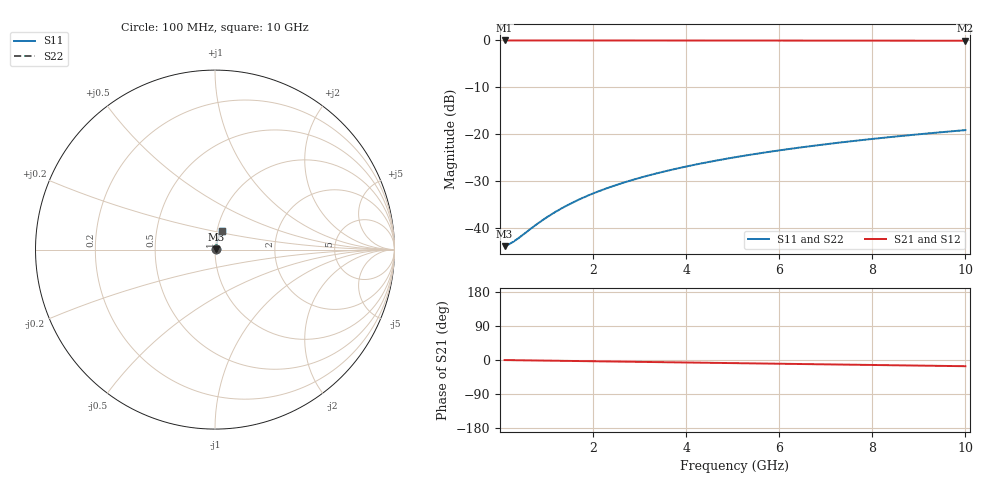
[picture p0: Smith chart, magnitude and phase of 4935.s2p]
# Hz S RI R 50.00
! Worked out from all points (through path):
!   100 points, 100 MHz to 10 GHz, reference 50 ohm
!   highest |S21| = -0.06 dB at 100 MHz (marker M1); lowest = -0.1 dB at 10 GHz (marker M2)
!   group delay of S21, straight-line fit = 4.55 ps
!   lowest |S11| = -43.8 dB at 100 MHz (marker M3), VSWR 1.01, Z = 50.6 + j0.112 ohm
!   |S11| at or under -10 dB: start of sweep to end of sweep
!   |S22| runs from -43.8 to -19.1 dB; largest |S21 - S12| = 0
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1e8  0.00633 0.0011  0.9937 -0.00285  0.9937 -0.00285  0.00633 0.0011
2e8  0.00638 0.00221  0.9936 -0.0057  0.9936 -0.0057  0.00638 0.00221
3e8  0.00642 0.00331  0.9936 -0.00855  0.9936 -0.00855  0.00642 0.00331
4e8  0.00647 0.00441  0.9935 -0.0114  0.9935 -0.0114  0.00647 0.00441
8e8  0.00669 0.00881  0.9932 -0.0228  0.9932 -0.0228  0.00669 0.00881
1.1e9  0.00691 0.0121  0.9929 -0.0313  0.9929 -0.0313  0.00691 0.0121
1.4e9  0.00718 0.0154  0.9925 -0.0399  0.9925 -0.0399  0.00718 0.0154
1.6e9  0.00739 0.0176  0.9922 -0.0456  0.9922 -0.0456  0.00739 0.0176
1.8e9  0.00762 0.0198  0.9919 -0.0512  0.9919 -0.0512  0.00762 0.0198
2.1e9  0.00801 0.0231  0.9913 -0.0598  0.9913 -0.0598  0.00801 0.0231
2.5e9  0.00862 0.0274  0.9904 -0.0711  0.9904 -0.0711  0.00862 0.0274
2.9e9  0.00933 0.0318  0.9893 -0.0825  0.9893 -0.0825  0.00933 0.0318
3.4e9  0.0104 0.0372  0.9878 -0.0966  0.9878 -0.0966  0.0104 0.0372
3.8e9  0.0113 0.0415  0.9864 -0.1079  0.9864 -0.1079  0.0113 0.0415
4.2e9  0.0123 0.0458  0.9849 -0.1192  0.9849 -0.1192  0.0123 0.0458
4.6e9  0.0134 0.05  0.9833 -0.1304  0.9833 -0.1304  0.0134 0.05
5.1e9  0.015 0.0553  0.981 -0.1444  0.981 -0.1444  0.015 0.0553
5.9e9  0.0177 0.0636  0.9768 -0.1667  0.9768 -0.1667  0.0177 0.0636
6.7e9  0.0209 0.0718  0.9721 -0.1889  0.9721 -0.1889  0.0209 0.0718
7.5e9  0.0244 0.0799  0.9668 -0.2109  0.9668 -0.2109  0.0244 0.0799
8.4e9  0.0288 0.0887  0.9602 -0.2354  0.9602 -0.2354  0.0288 0.0887
1e10  0.0377 0.1037  0.9468 -0.2784  0.9468 -0.2784  0.0377 0.1037
